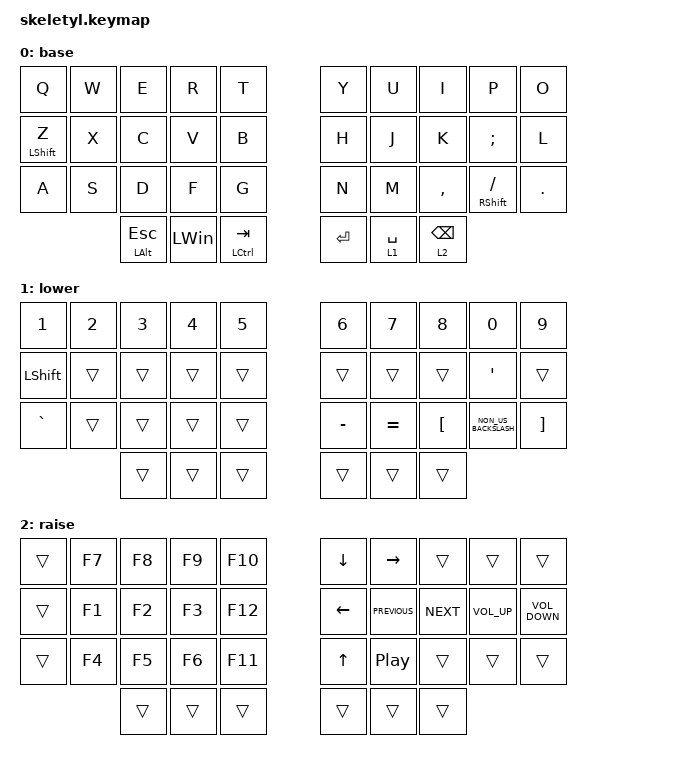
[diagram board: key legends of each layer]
#include <behaviors.dtsi>
#include <dt-bindings/zmk/keys.h>

/ {
    keymap {
        compatible = "zmk,keymap";

        base {
            bindings = <
&kp Q             &kp W  &kp E                &kp R            &kp T                        &kp Y    &kp U        &kp I            &kp P                &kp O
&mt LEFT_SHIFT Z  &kp X  &kp C                &kp V            &kp B                        &kp H    &kp J        &kp K            &kp SEMI             &kp L
&kp A             &kp S  &kp D                &kp F            &kp G                        &kp N    &kp M        &kp COMMA        &mt RIGHT_SHIFT FSLH &kp DOT
                         &mt LEFT_ALT ESCAPE  &kp LEFT_WIN     &mt LEFT_CONTROL TAB         &kp RET  &lt 1 SPACE  &lt 2 BACKSPACE
            >;
        };

        lower {
            bindings = <
&kp N1            &kp N2  &kp N3  &kp N4  &kp N5    &kp N6     &kp N7     &kp N8            &kp N0               &kp N9
&kp LEFT_SHIFT    &trans  &trans  &trans  &trans    &trans     &trans     &trans            &kp SQT              &trans
&kp GRAVE         &trans  &trans  &trans  &trans    &kp MINUS  &kp EQUAL  &kp LEFT_BRACKET  &kp NON_US_BACKSLASH &kp RIGHT_BRACKET
                          &trans  &trans  &trans    &trans     &trans     &trans
            >;
        };

        raise {
            bindings = <
&trans            &kp F7  &kp F8  &kp F9  &kp F10    &kp DOWN  &kp RIGHT         &trans      &trans             &trans
&trans            &kp F1  &kp F2  &kp F3  &kp F12    &kp LEFT  &kp C_PREVIOUS    &kp C_NEXT  &kp C_VOLUME_UP    &kp C_VOLUME_DOWN
&trans            &kp F4  &kp F5  &kp F6  &kp F11    &kp UP    &kp C_PLAY_PAUSE  &trans      &trans             &trans
                          &trans  &trans  &trans     &trans    &trans            &trans
            >;
        };
    };
};

